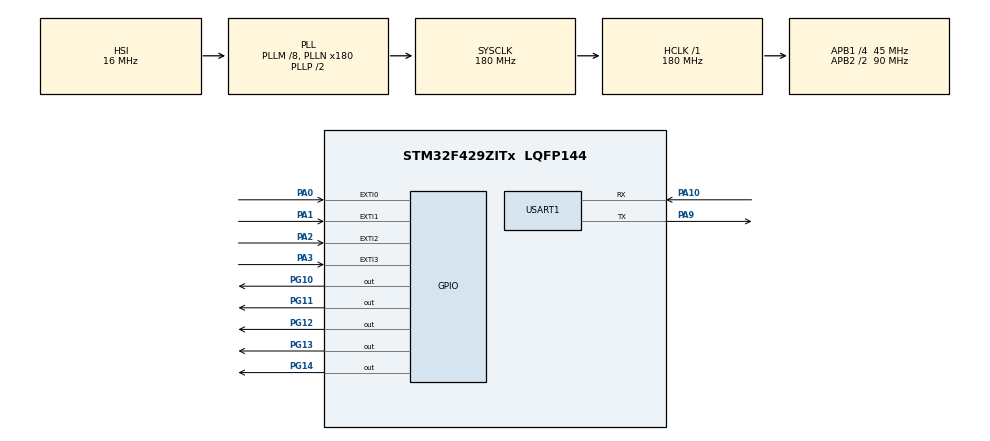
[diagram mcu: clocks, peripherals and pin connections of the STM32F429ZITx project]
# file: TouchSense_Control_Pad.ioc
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FREERTOS.INCLUDE_xEventGroupSetBitFromISR=1
FREERTOS.INCLUDE_xTimerPendFunctionCall=1
FREERTOS.Mutexes01=myMutex01,Dynamic,NULL,Available
FREERTOS.Tasks01=defaultTask,0,128,StartDefaultTask,Default,NULL,Dynamic,NULL,NULL
FREERTOS.Timers01=myTimer01,Callback01,osTimerPeriodic,Default,NULL,Dynamic,NULL
FREERTOS.configGENERATE_RUN_TIME_STATS=1
FREERTOS.configUSE_NEWLIB_REENTRANT=1
FREERTOS.configUSE_STATS_FORMATTING_FUNCTIONS=1
FREERTOS.configUSE_TIMERS=1
FREERTOS.configUSE_TRACE_FACILITY=1
Mcu.Family=STM32F4
Mcu.Name=STM32F429ZITx
Mcu.Package=LQFP144
NVIC.EXTI0_IRQn=true\:5\:0\:false\:false\:true\:true\:true\:true\:true
NVIC.EXTI1_IRQn=true\:5\:0\:false\:false\:true\:true\:true\:true\:true
NVIC.EXTI2_IRQn=true\:5\:0\:false\:false\:true\:true\:true\:true\:true
NVIC.EXTI3_IRQn=true\:5\:0\:false\:false\:true\:true\:true\:true\:true
NVIC.PriorityGroup=NVIC_PRIORITYGROUP_4
NVIC.TIM1_UP_TIM10_IRQn=true\:15\:0\:false\:false\:true\:false\:false\:true\:true
NVIC.TimeBase=TIM1_UP_TIM10_IRQn
NVIC.TimeBaseIP=TIM1
NVIC.USART1_IRQn=true\:5\:0\:false\:false\:true\:true\:true\:true\:true
PA0/WKUP.GPIO_ModeDefaultEXTI=GPIO_MODE_IT_RISING
PA0/WKUP.GPIO_PuPd=GPIO_PULLDOWN
PA0/WKUP.Signal=GPXTI0
PA1.GPIO_ModeDefaultEXTI=GPIO_MODE_IT_RISING
PA1.GPIO_PuPd=GPIO_PULLDOWN
PA1.Signal=GPXTI1
PA10.Mode=Asynchronous
PA10.Signal=USART1_RX
PA2.GPIO_ModeDefaultEXTI=GPIO_MODE_IT_RISING
PA2.GPIO_PuPd=GPIO_PULLDOWN
PA2.Signal=GPXTI2
PA3.GPIO_ModeDefaultEXTI=GPIO_MODE_IT_RISING
PA3.GPIO_PuPd=GPIO_PULLDOWN
PA3.Signal=GPXTI3
PA9.Mode=Asynchronous
PA9.Signal=USART1_TX
PG10.GPIO_PuPd=GPIO_NOPULL
PG10.Signal=GPIO_Output
PG11.Signal=GPIO_Output
PG12.Signal=GPIO_Output
PG13.Signal=GPIO_Output
PG14.Signal=GPIO_Output
ProjectManager.HeapSize=0x200
ProjectManager.StackSize=0x400
ProjectManager.TargetToolchain=STM32CubeIDE
RCC.48MHZClocksFreq_Value=90000000
RCC.AHBFreq_Value=180000000
RCC.APB1CLKDivider=RCC_HCLK_DIV4
RCC.APB1Freq_Value=45000000
RCC.APB1TimFreq_Value=90000000
RCC.APB2CLKDivider=RCC_HCLK_DIV2
RCC.APB2Freq_Value=90000000
RCC.APB2TimFreq_Value=180000000
RCC.CortexFreq_Value=180000000
RCC.HCLKFreq_Value=180000000
RCC.HSE_VALUE=25000000
RCC.HSI_VALUE=16000000
RCC.LSE_VALUE=32768
RCC.PLLM=8
RCC.PLLN=180
RCC.SYSCLKFreq_VALUE=180000000
RCC.SYSCLKSource=RCC_SYSCLKSOURCE_PLLCLK
RCC.VCOOutputFreq_Value=360000000
USART1.VirtualMode=VM_ASYNC
VP_FREERTOS_VS_CMSIS_V1.Mode=CMSIS_V1
VP_SYS_VS_tim1.Mode=TIM1
board=custom

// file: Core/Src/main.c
/* USER CODE BEGIN Header */
/**
 ******************************************************************************
 * @file           : main.c
 * @brief          : Main program body
 ******************************************************************************
 * @attention
 *
 * Copyright (c) 2026 STMicroelectronics.
 * All rights reserved.
 *
 * This software is licensed under terms that can be found in the LICENSE file
 * in the root directory of this software component.
 * If no LICENSE file comes with this software, it is provided AS-IS.
 *
 ******************************************************************************
 */
/* USER CODE END Header */
#include "main.h"
#include "cmsis_os.h"

/* USER CODE BEGIN Includes */
#include<stdio.h>
#include<string.h>
#include "task.h"

/*======================= MACROS =======================*/
#define EMER_LED      GPIO_PIN_14
#define TASK1_LED     GPIO_PIN_10
#define TASK2_LED     GPIO_PIN_11
#define TASK3_LED     GPIO_PIN_12

#define EMER	        0x01
#define TASK1			0x02
#define TASK2 			0x04
#define TASK3 			0x08

#define TLS_INDEX 0 // Index for the thread-local storage pointer

/* USER CODE END Includes */

UART_HandleTypeDef huart1;

//osThreadId defaultTaskHandle;
//osTimerId myTimer01Handle;
//osMutexId myMutex01Handle;

void SystemClock_Config(void);
static void MX_GPIO_Init(void);
static void MX_USART1_UART_Init(void);
//void StartDefaultTask(void const * argument);
//void Callback01(void const * argument);

/* USER CODE BEGIN 0 */

/*================ TASK PROTOTYPES ==================*/
void Task1(void *arg);
void Task2(void *arg);
void Task3(void *arg);
void Emergency_Task(void *arg);
void Control_Task(void *arg);
void UART_Task(void *arg);
void Toggle_LED( uint16_t pin);
void Timer_Task1(TimerHandle_t xTimer); //To print health for every 15sec
void Timer_Task2(TimerHandle_t xTimer); //To overcome bouncing effect

/* =============== PRINTF ============================*/
//To use printf()
int _write(int file, char *ptr, int len) {
	HAL_UART_Transmit(&huart1, (uint8_t*) ptr, (uint16_t) len, HAL_MAX_DELAY);
	return len;
}

/*==================== HANDLES =======================*/
SemaphoreHandle_t LED_Mutex;
SemaphoreHandle_t UART_Mutex;

TimerHandle_t TimerHandle1, TimerHandle2;
EventGroupHandle_t EventGroupHandle;
TaskHandle_t Emer_Handle, Task1_Handle, Task2_Handle, Task3_Handle,
		Control_Handle, UART_Handle;

uint16_t PRESSED_Pin;
uint8_t rx_char;
uint8_t status[50];
uint8_t i = 0;
/*============== COMMON LED TOGGLE FUNCTION ===========*/
void Toggle_LED( uint16_t pin) {
	xSemaphoreTake(LED_Mutex, portMAX_DELAY);
	HAL_GPIO_TogglePin(GPIOG, pin);
	xSemaphoreGive(LED_Mutex);
}
/* USER CODE END 0 */

int main(void) {

	/* MCU Configuration--------------------------------------------------------*/

	/* Reset of all peripherals, Initializes the Flash interface and the Systick. */
	HAL_Init();

	/* Configure the system clock */
	SystemClock_Config();

	/* Initialize all configured peripherals */
	MX_GPIO_Init();
	MX_USART1_UART_Init();
	/* USER CODE BEGIN 2 */

	/*================ MUTEX CREATION =====================*/
	LED_Mutex = xSemaphoreCreateMutex(); //Mutex for Common Toggle LED function
	UART_Mutex = xSemaphoreCreateMutex(); //Mutex for UART

	/*=============== SOFTWARE TIMER CREATION =============*/
	TimerHandle1 = xTimerCreate("Timerpc", pdMS_TO_TICKS(15000), pdTRUE, 0,
			Timer_Task1);
	TimerHandle2 = xTimerCreate("Timer2_pc", pdMS_TO_TICKS(50), pdFALSE, 0,
			Timer_Task2);

	/*================= TASK CREATIONS ====================*/
	xTaskCreate(Emergency_Task, "Eme_task_pc", 128, NULL, 2, &Emer_Handle);
	xTaskCreate(Task1, "Task1_pc", 128, NULL, 1, &Task1_Handle);
	xTaskCreate(Task2, "Task2_pc", 128, NULL, 1, &Task2_Handle);
	xTaskCreate(Task3, "Task3_pc", 128, NULL, 1, &Task3_Handle);
	xTaskCreate(Control_Task, "Control_pc", 128, NULL, 2, &Control_Handle);
	xTaskCreate(UART_Task, "UART_pc", 128, NULL, 0, &UART_Handle);

	/*================EVENT GROUP CREATION============================*/
	EventGroupHandle = xEventGroupCreate();

	//Suspending all the tasks initially
	vTaskSuspend(Emer_Handle);
	vTaskSuspend(Task1_Handle);
	vTaskSuspend(Task2_Handle);
	vTaskSuspend(Task3_Handle);

	//Start the software timer
	xTimerStart(TimerHandle1, 0);

	//receiving one character from UART
	HAL_UART_Receive_IT(&huart1, &rx_char, 1);

	//Start the scheduler
	vTaskStartScheduler();

	/* USER CODE END 2 */

	/* Create the mutex(es) */
	/* definition and creation of myMutex01 */
//  osMutexDef(myMutex01);
//  myMutex01Handle = osMutexCreate(osMutex(myMutex01));

	/* Create the timer(s) */
	/* definition and creation of myTimer01 */
//  osTimerDef(myTimer01, Callback01);
//  myTimer01Handle = osTimerCreate(osTimer(myTimer01), osTimerPeriodic, NULL);

	/* Create the thread(s) */
	/* definition and creation of defaultTask */
//  osThreadDef(defaultTask, StartDefaultTask, osPriorityNormal, 0, 128);
//  defaultTaskHandle = osThreadCreate(osThread(defaultTask), NULL);

	/* Start scheduler */
	//osKernelStart();
	/* We should never get here as control is now taken by the scheduler */

	/* Infinite loop */
	while (1) {

	}
}

void SystemClock_Config(void) {
	RCC_OscInitTypeDef RCC_OscInitStruct = { 0 };
	RCC_ClkInitTypeDef RCC_ClkInitStruct = { 0 };

	/** Configure the main internal regulator output voltage
	 */
	__HAL_RCC_PWR_CLK_ENABLE();
	__HAL_PWR_VOLTAGESCALING_CONFIG(PWR_REGULATOR_VOLTAGE_SCALE1);

	/** Initializes the RCC Oscillators according to the specified parameters
	 * in the RCC_OscInitTypeDef structure.
	 */
	RCC_OscInitStruct.OscillatorType = RCC_OSCILLATORTYPE_HSI;
	RCC_OscInitStruct.HSIState = RCC_HSI_ON;
	RCC_OscInitStruct.HSICalibrationValue = RCC_HSICALIBRATION_DEFAULT;
	RCC_OscInitStruct.PLL.PLLState = RCC_PLL_ON;
	RCC_OscInitStruct.PLL.PLLSource = RCC_PLLSOURCE_HSI;
	RCC_OscInitStruct.PLL.PLLM = 8;
	RCC_OscInitStruct.PLL.PLLN = 180;
	RCC_OscInitStruct.PLL.PLLP = RCC_PLLP_DIV2;
	RCC_OscInitStruct.PLL.PLLQ = 4;
	if (HAL_RCC_OscConfig(&RCC_OscInitStruct) != HAL_OK) {
		Error_Handler();
	}

	/** Activate the Over-Drive mode
	 */
	if (HAL_PWREx_EnableOverDrive() != HAL_OK) {
		Error_Handler();
	}

	/** Initializes the CPU, AHB and APB buses clocks
	 */
	RCC_ClkInitStruct.ClockType = RCC_CLOCKTYPE_HCLK | RCC_CLOCKTYPE_SYSCLK
			| RCC_CLOCKTYPE_PCLK1 | RCC_CLOCKTYPE_PCLK2;
	RCC_ClkInitStruct.SYSCLKSource = RCC_SYSCLKSOURCE_PLLCLK;
	RCC_ClkInitStruct.AHBCLKDivider = RCC_SYSCLK_DIV1;
	RCC_ClkInitStruct.APB1CLKDivider = RCC_HCLK_DIV4;
	RCC_ClkInitStruct.APB2CLKDivider = RCC_HCLK_DIV2;

	if (HAL_RCC_ClockConfig(&RCC_ClkInitStruct, FLASH_LATENCY_5) != HAL_OK) {
		Error_Handler();
	}
}

static void MX_USART1_UART_Init(void) {

	huart1.Instance = USART1;
	huart1.Init.BaudRate = 115200;
	huart1.Init.WordLength = UART_WORDLENGTH_8B;
	huart1.Init.StopBits = UART_STOPBITS_1;
	huart1.Init.Parity = UART_PARITY_NONE;
	huart1.Init.Mode = UART_MODE_TX_RX;
	huart1.Init.HwFlowCtl = UART_HWCONTROL_NONE;
	huart1.Init.OverSampling = UART_OVERSAMPLING_16;
	if (HAL_UART_Init(&huart1) != HAL_OK) {
		Error_Handler();
	}

}

static void MX_GPIO_Init(void) {
	GPIO_InitTypeDef GPIO_InitStruct = { 0 };

	/* GPIO Ports Clock Enable */
	__HAL_RCC_GPIOA_CLK_ENABLE();
	__HAL_RCC_GPIOG_CLK_ENABLE();

	/*Configure GPIO pin Output Level */
	HAL_GPIO_WritePin(GPIOG,
	GPIO_PIN_10 | GPIO_PIN_11 | GPIO_PIN_12 | GPIO_PIN_13 | GPIO_PIN_14,
			GPIO_PIN_RESET);

	/*Configure GPIO pins : PA0 PA1 PA2 PA3 */
	GPIO_InitStruct.Pin = GPIO_PIN_0 | GPIO_PIN_1 | GPIO_PIN_2 | GPIO_PIN_3;
	GPIO_InitStruct.Mode = GPIO_MODE_IT_RISING;
	GPIO_InitStruct.Pull = GPIO_PULLDOWN;
	HAL_GPIO_Init(GPIOA, &GPIO_InitStruct);

	/*Configure GPIO pins : PG10 PG11 PG12 PG13
	 PG14 */
	GPIO_InitStruct.Pin = GPIO_PIN_10 | GPIO_PIN_11 | GPIO_PIN_12 | GPIO_PIN_13
			| GPIO_PIN_14;
	GPIO_InitStruct.Mode = GPIO_MODE_OUTPUT_PP;
	GPIO_InitStruct.Pull = GPIO_NOPULL;
	GPIO_InitStruct.Speed = GPIO_SPEED_FREQ_LOW;
	HAL_GPIO_Init(GPIOG, &GPIO_InitStruct);

	/* EXTI interrupt init*/
	HAL_NVIC_SetPriority(EXTI0_IRQn, 5, 0);
	HAL_NVIC_EnableIRQ(EXTI0_IRQn);

	HAL_NVIC_SetPriority(EXTI1_IRQn, 5, 0);
	HAL_NVIC_EnableIRQ(EXTI1_IRQn);

	HAL_NVIC_SetPriority(EXTI2_IRQn, 5, 0);
	HAL_NVIC_EnableIRQ(EXTI2_IRQn);

	HAL_NVIC_SetPriority(EXTI3_IRQn, 5, 0);
	HAL_NVIC_EnableIRQ(EXTI3_IRQn);

}

/* USER CODE BEGIN 4 */
uint8_t bit;
uint32_t count=0;
uint32_t *cnt;
//CONTROLLER TASK
void Control_Task(void *arg) {
	vTaskSetThreadLocalStoragePointer(NULL, TLS_INDEX, (void *)&count);
	for (;;) {
		bit = xEventGroupWaitBits(EventGroupHandle, EMER | TASK1 | TASK2 | TASK3,
		pdTRUE, pdFALSE, portMAX_DELAY); // read the bit value and clear
		// Set thread-local storage for the current task
		cnt = (uint32_t *)pvTaskGetThreadLocalStoragePointer(NULL, TLS_INDEX);
		(*cnt)++;
		//vTaskSetThreadLocalStoragePointer(NULL, TLS_INDEX, (void *)cnt);

//		cnt = pvTaskGetThreadLocalStoragePointer(NULL, TLS_INDEX);
//		printf("No of times Events Changed: %ld\r\n", *cnt);

		switch (bit) {
		case EMER:	//If Emergency bit is set resume it and suspend remaining.
			//count++;
			vTaskResume(Emer_Handle);
			vTaskSuspend(Task1_Handle);
			vTaskSuspend(Task2_Handle);
			vTaskSuspend(Task3_Handle);
			break;

		case TASK1:		//If Task1 bit is set resume it and suspend remaining.
			//count++;
			vTaskResume(Task1_Handle);
			vTaskSuspend(Emer_Handle);
			vTaskSuspend(Task2_Handle);
			vTaskSuspend(Task3_Handle);
			break;

		case TASK2:		//If Task2 bit is set resume it and suspend remaining.
			//count++;
			vTaskResume(Task2_Handle);
			vTaskSuspend(Emer_Handle);
			vTaskSuspend(Task1_Handle);
			vTaskSuspend(Task3_Handle);
			break;

		case TASK3:		//If task3 bit is set resume it and suspend remaining.
			//count++;
			vTaskResume(Task3_Handle);
			vTaskSuspend(Emer_Handle);
			vTaskSuspend(Task2_Handle);
			vTaskSuspend(Task1_Handle);
			break;

		}
	}
}

//call back function when interrupt is given
//For deboucing effect, we are using a timer and starting the one shot timer in interrupt
void HAL_GPIO_EXTI_Callback(uint16_t GPIO_Pin) {
	PRESSED_Pin=GPIO_Pin;
	BaseType_t xHigherPriorityTaskWoken = pdFALSE;
	xTimerStartFromISR(TimerHandle2, &xHigherPriorityTaskWoken);
	portYIELD_FROM_ISR(xHigherPriorityTaskWoken);
}

//void Timer_Task2(TimerHandle_t xTimer) {
//	if (PRESSED_Pin==GPIO_PIN_0) {
//		xEventGroupSetBits(EventGroupHandle, EMER);
//		count++;
//	} else if (PRESSED_Pin==GPIO_PIN_1) {
//		xEventGroupSetBits(EventGroupHandle, TASK1);
//		count++;
//	} else if (PRESSED_Pin==GPIO_PIN_2) {
//		xEventGroupSetBits(EventGroupHandle, TASK2);
//		count++;
//	} else if (PRESSED_Pin==GPIO_PIN_3) {
//		xEventGroupSetBits(EventGroupHandle, TASK3);
//		count++;
//	}
//}

void Timer_Task2(TimerHandle_t xTimer) {
	if ((HAL_GPIO_ReadPin(GPIOA, GPIO_PIN_0)) == 1) {
		xEventGroupSetBits(EventGroupHandle, EMER);
		//count++;
	} else if ((HAL_GPIO_ReadPin(GPIOA, GPIO_PIN_1)) == 1) {
		xEventGroupSetBits(EventGroupHandle, TASK1);
		//count++;
	} else if ((HAL_GPIO_ReadPin(GPIOA, GPIO_PIN_2)) == 1) {
		xEventGroupSetBits(EventGroupHandle, TASK2);
		//count++;
	} else if ((HAL_GPIO_ReadPin(GPIOA, GPIO_PIN_3)) == 1) {
		xEventGroupSetBits(EventGroupHandle, TASK3);
		//count++;
	}
}

void HAL_UART_RxCpltCallback(UART_HandleTypeDef *huart) {
	if (huart->Instance == USART1) {
		status[i] = rx_char;
		i++;

		HAL_UART_Receive_IT(&huart1, &rx_char, 1);  // Restart UART interrupt

		if ((i == 16) || ((i == 9))&&(!strncmp((char*) status, "STATUS?\r\n", 9))) {
			BaseType_t xHigherPriorityTaskWoken = pdFALSE;
			vTaskNotifyGiveFromISR(UART_Handle, &xHigherPriorityTaskWoken); // Notify UART task that new data arrived
			portYIELD_FROM_ISR(xHigherPriorityTaskWoken);
		}
	}
}

//Emergency task
void Emergency_Task(void *arg) {
	for (;;) {
		Toggle_LED(EMER_LED);
		vTaskDelay(pdMS_TO_TICKS(250));
	}
}

//Task1 - Toggle LED for 500ms
void Task1(void *arg) {
	for (;;) {
		Toggle_LED(TASK1_LED);
		vTaskDelay(pdMS_TO_TICKS(500));

	}
}
//Task2 - Toggle LED for 100ms
void Task2(void *arg) {
	for (;;) {
		Toggle_LED(TASK2_LED);
		vTaskDelay(pdMS_TO_TICKS(1000));

	}
}
//Task3 - Toggle LED for 150ms
void Task3(void *arg) {
	for (;;) {
		Toggle_LED(TASK3_LED);
		vTaskDelay(pdMS_TO_TICKS(1500));

	}
}

//Timer task to print the number of event changes for every 15 sec
void Timer_Task1(TimerHandle_t xTimer) {
	i = 0;
	cnt = pvTaskGetThreadLocalStoragePointer(Control_Handle, TLS_INDEX);

	//print how many times event changed
	xSemaphoreTake(UART_Mutex, portMAX_DELAY);
	printf("No of times Events Changed: %ld\r\n", *cnt);
	xSemaphoreGive(UART_Mutex);
}

uint8_t health[500]; //health buffer

//UART task
void UART_Task(void *arg) {
	for (;;) {
		ulTaskNotifyTake(pdTRUE, portMAX_DELAY);
		if ((!strncmp((char*) status, "STATUS?\r\n", 9))) {
			vTaskList(health); //Lists all the tasks
			xSemaphoreTake(UART_Mutex, portMAX_DELAY);
			printf("%s\r\n", health);
			xSemaphoreGive(UART_Mutex);
		}
		//user changing to emergency mode
		else if (!(strncmp((char*) status, "SET_MODE=EMERG\r\n", 16))) {
			xEventGroupSetBits(EventGroupHandle, EMER);
			//count++;

		}
		//user changing to task1 mode
		else if (!(strncmp((char*) status, "SET_MODE=TASK1\r\n", 16))) {
			xEventGroupSetBits(EventGroupHandle, TASK1);
			//count++;

		}
		//user changing to task2 mode
		else if (!(strncmp((char*) status, "SET_MODE=TASK2\r\n", 16))) {
			xEventGroupSetBits(EventGroupHandle, TASK2);
			//count++;

		}
		//user changing to task3 mode
		else if (!(strncmp((char*) status, "SET_MODE=TASK3\r\n", 16))) {
			xEventGroupSetBits(EventGroupHandle, TASK3);
			//count++;
		}
	}
}

/* USER CODE END 4 */

//void StartDefaultTask(void const * argument)
//{
/* USER CODE BEGIN 5 */
/* Infinite loop */
//  for(;;)
//  {
//    osDelay(1);
//  }
/* USER CODE END 5 */
//}
/* Callback01 function */
//void Callback01(void const * argument)
//{
//}
void HAL_TIM_PeriodElapsedCallback(TIM_HandleTypeDef *htim) {
	if (htim->Instance == TIM1) {
		HAL_IncTick();
	}
}

void Error_Handler(void) {
	__disable_irq();
	while (1) {
	}
}
